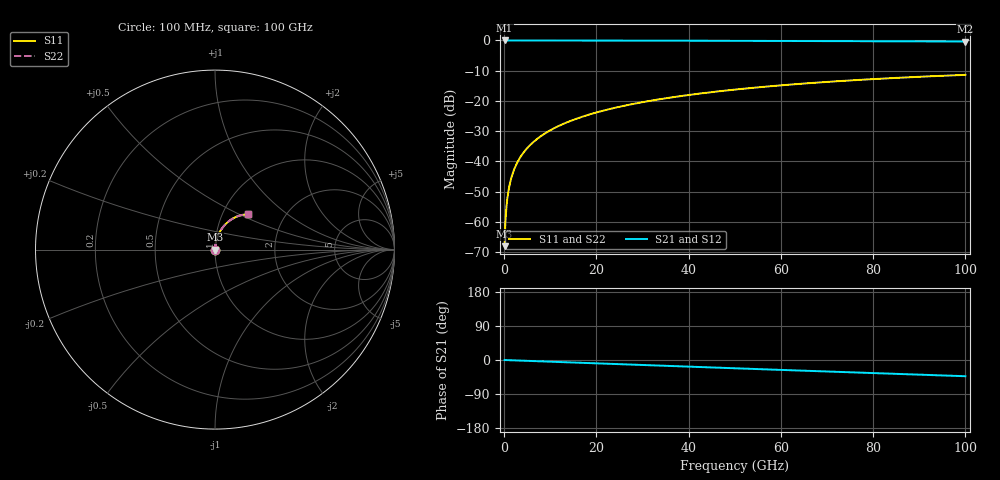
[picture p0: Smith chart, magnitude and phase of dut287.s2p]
! Touchstone file exported from HFSS 2026.1.0
!  File:  C:/ffzhzh/LocalFiles/Ansys_Project_Files/temp_train_TSV_287_1783508957_44152.aedt
!  Generated:  07:10:36 PM Jul  8, 2026
!  Design:  TSV
!  Project:  temp_train_TSV_287_1783508957_44152
! Variables:
!  h_bsmrdl = 2um
!  h_ox = 20um
!  h_rdl = 5um
!  h_sub = 74.22um
!  h_tmrdl = 5um
!  h_tsv = 74.22um
!  h_via = 3um
!  l_bsmrdl = 300um
!  l_sub = 416.26um
!  l_tmrdl = 200um
!  m_sub = 200um
!  pitch = 59.03um
!  r_tsv = 8.13um
!  s_tmrdl = 10um
!  w_bsmrdl = 18um
!  w_sub = 500um
!  w_tmrdl = 12um
!  x_tsv_center1 = 206um
!  x_tsv_center2 = 524um
!  x_tsv_center3 = 736um
!  x_tsv_center4 = 1054um
!  x_tsv_center5 = 1266um
!  x_tsv_center6 = 1584um
# GHz S MA R 50.000000
! Terminal data exported
! Port[1] = TSV1_1_T1
! Port[2] = TSV1_1_T2
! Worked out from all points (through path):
!   1000 points, 100 MHz to 100 GHz, reference 50 ohm
!   highest |S21| = 0.00 dB at 100 MHz (marker M1); lowest = -0.4 dB at 100 GHz (marker M2)
!   group delay of S21, straight-line fit = 1.19 ps
!   lowest |S11| = -68.0 dB at 100 MHz (marker M3), VSWR 1.00, Z = 50 + j0.0363 ohm
!   |S11| at or under -10 dB: start of sweep to end of sweep
!   |S22| runs from -68.0 to -11.4 dB; largest |S21 - S12| = 4.4e-15
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0.1  0.000397 65.9  0.9998 -0.0  0.9998 -0.0  0.000397 65.9
! Gamma 0 0 0 0
! Port Impedance 50 0 50 0
0.3  0.001093 80.0  0.9998 -0.1  0.9998 -0.1  0.001093 80.0
0.7  0.002466 83.8  0.9997 -0.3  0.9997 -0.3  0.002466 83.8
0.8  0.002804 84.1  0.9997 -0.4  0.9997 -0.4  0.002804 84.1
1  0.003477 84.7  0.9997 -0.5  0.9997 -0.5  0.003477 84.7
1.3  0.004481 85.1  0.9997 -0.6  0.9997 -0.6  0.004481 85.1
1.7  0.005812 85.5  0.9996 -0.8  0.9996 -0.8  0.005812 85.5
2.3  0.007793 85.7  0.9995 -1.0  0.9995 -1.0  0.007793 85.7
3  0.01009 85.7  0.9994 -1.3  0.9994 -1.3  0.01009 85.7
3.8  0.01269 85.6  0.9993 -1.7  0.9993 -1.7  0.01269 85.6
4.8  0.01594 85.5  0.9992 -2.1  0.9992 -2.1  0.01594 85.5
6  0.01982 85.2  0.9991 -2.7  0.9991 -2.7  0.01982 85.2
8.8  0.02886 84.3  0.9987 -3.9  0.9987 -3.9  0.02886 84.3
12.4  0.04039 83.0  0.9981 -5.5  0.9981 -5.5  0.04039 83.0
16.8  0.05438 81.2  0.9973 -7.4  0.9973 -7.4  0.05438 81.2
24.2  0.07758 78.2  0.9955 -10.7  0.9955 -10.7  0.07758 78.2
33.4  0.1058 74.4  0.9927 -14.7  0.9927 -14.7  0.1058 74.4
41.2  0.1289 71.1  0.9897 -18.1  0.9897 -18.1  0.1289 71.1
50.1  0.1543 67.3  0.9859 -21.9  0.9859 -21.9  0.1543 67.3
66.7  0.1982 60.4  0.9778 -29.0  0.9778 -29.0  0.1982 60.4
83.4  0.2372 53.5  0.9688 -36.0  0.9688 -36.0  0.2372 53.5
100  0.2698 46.7  0.96 -42.8  0.96 -42.8  0.2698 46.7
